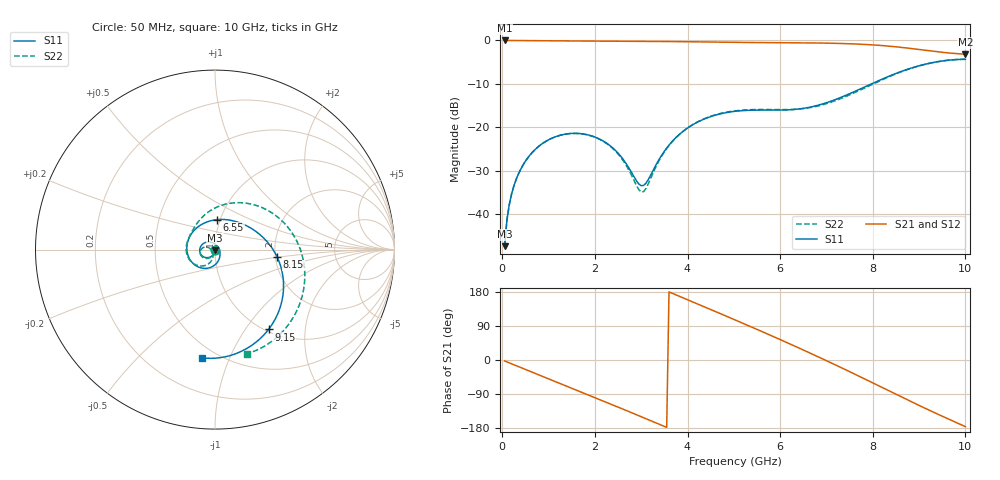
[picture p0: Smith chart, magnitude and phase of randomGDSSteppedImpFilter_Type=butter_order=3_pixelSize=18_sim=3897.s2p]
! freq	dB(S11)	phase(S11)	dB(S12)	phase(S12)
!  dB(S21)	phase(S21)	dB(S22)	phase(S22)
!S-par simulation data
#  GHz  S  DB  R 50
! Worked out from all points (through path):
!   200 points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, 50 MHz to 10 GHz, reference 50 ohm
!   highest |S21| = 0.00 dB at 50 MHz (marker M1); lowest = -3.1 dB at 10 GHz (marker M2)
!   group delay of S21, straight-line fit = 149 ps
!   lowest |S11| = -47.3 dB at 50 MHz (marker M3), VSWR 1.01, Z = 50 - j0.432 ohm
!   |S11| at or under -10 dB: start of sweep to 7.968 GHz
!   |S22| runs from -47.3 to -4.3 dB; largest |S21 - S12| = 0
!   S11 on the Smith chart (normalised r, x): 50 MHz: 1.00, -0.01; 6.55 GHz: 0.97, +0.33; 8.15 GHz: 2.05, -0.20; 9.15 GHz: 1.03, -1.29; 10 GHz: 0.42, -0.80
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0.05  -47.29 -91.6  -0.00 -2.5  -0.00 -2.5  -47.27 -91.4
0.1  -41.29 -94.7  -0.01 -5.0  -0.01 -5.0  -41.27 -94.1
0.2  -35.34 -100.1  -0.02 -10.0  -0.02 -10.0  -35.33 -99.0
0.5  -27.75 -116.7  -0.04 -24.9  -0.04 -24.9  -27.75 -113.9
1.05  -22.57 -146.4  -0.09 -52.2  -0.09 -52.2  -22.58 -139.9
1.75  -21.49 174.7  -0.13 -86.8  -0.13 -86.8  -21.52 -171.2
2.45  -25.35 128.1  -0.15 -121.8  -0.15 -121.8  -25.52 164.1
3  -33.39 36.7  -0.18 -149.6  -0.18 -149.6  -34.85 -157.4
3.4  -27.10 -51.3  -0.22 -170.1  -0.22 -170.1  -27.34 -105.5
4.15  -19.14 -110.8  -0.33 151.3  -0.33 151.3  -19.10 -125.4
4.6  -17.18 -139.1  -0.40 128.0  -0.40 128.0  -17.09 -144.0
5.05  -16.26 -167.4  -0.45 104.6  -0.45 104.6  -16.15 -163.0
5.75  -16.02 145.3  -0.50 67.5  -0.50 67.5  -15.89 168.5
6.55  -15.53 86.3  -0.55 23.6  -0.55 23.6  -15.59 137.0
6.7  -15.21 75.6  -0.57 15.2  -0.57 15.2  -15.33 130.5
7.05  -14.14 52.2  -0.63 -4.7  -0.63 -4.7  -14.37 113.5
7.4  -12.70 31.5  -0.72 -24.9  -0.72 -24.9  -12.97 93.7
8.15  -9.13 -7.0  -1.13 -69.4  -1.13 -69.4  -9.29 44.6
8.35  -8.22 -16.9  -1.31 -81.4  -1.31 -81.4  -8.34 31.0
8.7  -6.81 -34.1  -1.69 -102.3  -1.69 -102.3  -6.87 7.5
9.15  -5.42 -56.2  -2.28 -128.6  -2.28 -128.6  -5.43 -21.6
10  -4.33 -96.9  -3.14 -175.9  -3.14 -175.9  -4.34 -72.9
